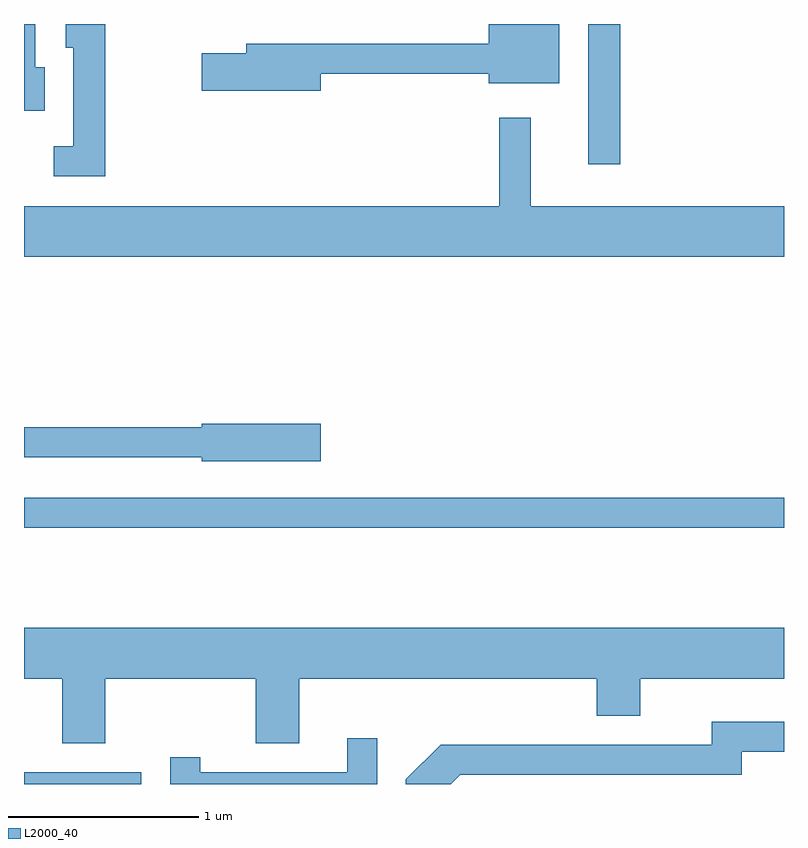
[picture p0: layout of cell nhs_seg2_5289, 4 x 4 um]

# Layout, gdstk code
import gdstk
lib = gdstk.Library(unit=1e-6, precision=1e-09)
def R(c, l, rs):  # rectangles x0, y0, x1, y1
    for r in rs: c.add(gdstk.rectangle(r[:2], r[2:], *l))
def P(c, l, *ps):  # polygons
    for p in ps: c.add(gdstk.Polygon(p, *l))
L2000_40 = (2000, 40)

nhs_seg2_5289 = lib.new_cell('nhs_seg2_5289')
R(nhs_seg2_5289, L2000_40, [(341.611,1007.802,342.229,1007.864), (341.611,1009.151,345.611,1009.309), (344.581,1011.063,344.749,1011.802)])
P(nhs_seg2_5289, L2000_40, [(342.039,1011.802),(341.831,1011.802),(341.831,1011.676),(341.871,1011.676),(341.871,1011.159),(341.768,1011.159),(341.768,1011.001),(342.039,1011.001)],
  [(341.719,1011.574),(341.669,1011.574),(341.669,1011.802),(341.611,1011.802),(341.611,1011.346),(341.719,1011.346)],
  [(343.174,1011.541),(344.056,1011.541),(344.056,1011.491),(344.429,1011.491),(344.429,1011.802),(344.056,1011.802),(344.056,1011.699),(342.781,1011.699),(342.781,1011.649),(342.546,1011.649),(342.546,1011.451),(343.174,1011.451)],
  [(345.611,1010.844),(344.279,1010.844),(344.279,1011.308),(344.111,1011.308),(344.111,1010.844),(341.611,1010.844),(341.611,1010.576),(345.611,1010.576)],
  [(343.174,1009.699),(342.546,1009.699),(342.546,1009.679),(341.611,1009.679),(341.611,1009.521),(342.546,1009.521),(342.546,1009.501),(343.174,1009.501)],
  [(342.039,1008.356),(342.831,1008.356),(342.831,1008.016),(343.059,1008.016),(343.059,1008.356),(344.626,1008.356),(344.626,1008.161),(344.854,1008.161),(344.854,1008.356),(345.611,1008.356),(345.611,1008.624),(341.611,1008.624),(341.611,1008.356),(341.811,1008.356),(341.811,1008.016),(342.039,1008.016)],
  [(343.907,1007.851),(345.389,1007.851),(345.389,1007.971),(345.611,1007.971),(345.611,1008.129),(345.231,1008.129),(345.231,1008.009),(343.804,1008.009),(343.621,1007.827),(343.621,1007.802),(343.858,1007.802)],
  [(343.469,1008.043),(343.311,1008.043),(343.311,1007.864),(342.539,1007.864),(342.539,1007.943),(342.381,1007.943),(342.381,1007.802),(343.469,1007.802)])

lib.write_gds('nhs_seg2_5289.gds')
